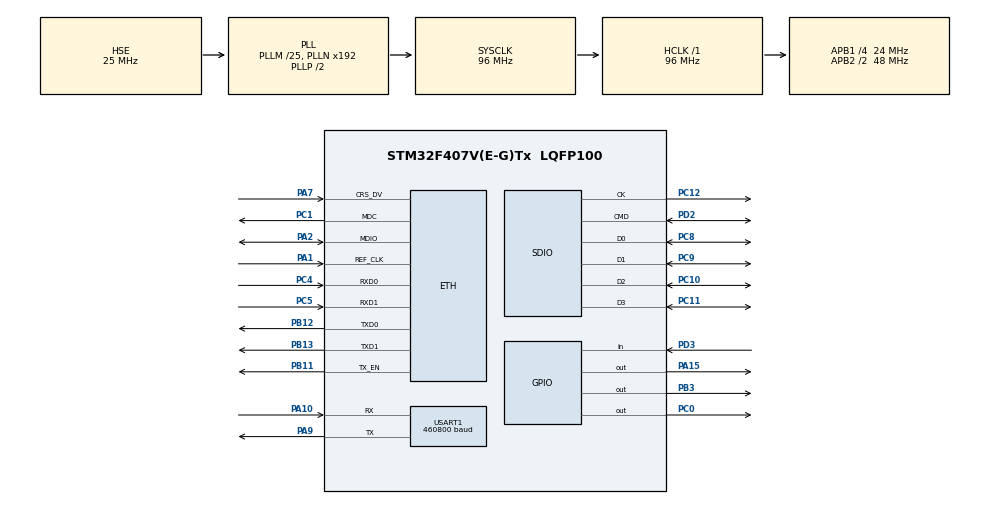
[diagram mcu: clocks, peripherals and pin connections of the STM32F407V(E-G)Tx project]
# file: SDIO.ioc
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Dma.Request0=SDIO_RX
Dma.Request1=SDIO_TX
Dma.Request2=USART1_TX
Dma.SDIO_RX.0.Direction=DMA_PERIPH_TO_MEMORY
Dma.SDIO_RX.0.FIFOMode=DMA_FIFOMODE_ENABLE
Dma.SDIO_RX.0.FIFOThreshold=DMA_FIFO_THRESHOLD_FULL
Dma.SDIO_RX.0.Instance=DMA2_Stream3
Dma.SDIO_RX.0.MemBurst=DMA_MBURST_INC4
Dma.SDIO_RX.0.MemDataAlignment=DMA_MDATAALIGN_WORD
Dma.SDIO_RX.0.MemInc=DMA_MINC_ENABLE
Dma.SDIO_RX.0.Mode=DMA_PFCTRL
Dma.SDIO_RX.0.PeriphBurst=DMA_PBURST_INC4
Dma.SDIO_RX.0.PeriphDataAlignment=DMA_PDATAALIGN_WORD
Dma.SDIO_RX.0.PeriphInc=DMA_PINC_DISABLE
Dma.SDIO_RX.0.Priority=DMA_PRIORITY_HIGH
Dma.SDIO_TX.1.Direction=DMA_MEMORY_TO_PERIPH
Dma.SDIO_TX.1.FIFOMode=DMA_FIFOMODE_ENABLE
Dma.SDIO_TX.1.FIFOThreshold=DMA_FIFO_THRESHOLD_FULL
Dma.SDIO_TX.1.Instance=DMA2_Stream6
Dma.SDIO_TX.1.MemBurst=DMA_MBURST_INC4
Dma.SDIO_TX.1.MemDataAlignment=DMA_MDATAALIGN_WORD
Dma.SDIO_TX.1.MemInc=DMA_MINC_ENABLE
Dma.SDIO_TX.1.Mode=DMA_PFCTRL
Dma.SDIO_TX.1.PeriphBurst=DMA_PBURST_INC4
Dma.SDIO_TX.1.PeriphDataAlignment=DMA_PDATAALIGN_WORD
Dma.SDIO_TX.1.PeriphInc=DMA_PINC_DISABLE
Dma.SDIO_TX.1.Priority=DMA_PRIORITY_HIGH
Dma.USART1_TX.2.Direction=DMA_MEMORY_TO_PERIPH
Dma.USART1_TX.2.FIFOMode=DMA_FIFOMODE_DISABLE
Dma.USART1_TX.2.Instance=DMA2_Stream7
Dma.USART1_TX.2.MemDataAlignment=DMA_MDATAALIGN_BYTE
Dma.USART1_TX.2.MemInc=DMA_MINC_ENABLE
Dma.USART1_TX.2.Mode=DMA_NORMAL
Dma.USART1_TX.2.PeriphDataAlignment=DMA_PDATAALIGN_BYTE
Dma.USART1_TX.2.PeriphInc=DMA_PINC_DISABLE
Dma.USART1_TX.2.Priority=DMA_PRIORITY_HIGH
ETH.MediaInterface=HAL_ETH_RMII_MODE
LWIP.BSP.number=1
LWIP.GATEWAY_ADDRESS=192.168.088.001
LWIP.IP_ADDRESS=192.168.088.010
LWIP.LWIP_DBG_MIN_LEVEL=LWIP_DBG_MASK_LEVEL
LWIP.LWIP_DHCP=0
LWIP.LWIP_TCP=0
LWIP.LWIP_UDP=1
LWIP.MEMP_NUM_PBUF=16
LWIP.MEMP_NUM_RAW_PCB=4
LWIP.MEMP_NUM_TCP_PCB=4
LWIP.MEMP_NUM_UDP_PCB=4
LWIP.MEM_SIZE=8192
LWIP.NETMASK_ADDRESS=255.255.255.000
LWIP.PBUF_POOL_BUFSIZE=592
LWIP.PBUF_POOL_SIZE=16
LWIP.Version=v2.1.2_Cube
LWIP0.BSP.STBoard=false
LWIP0.BSP.api=BSP_COMPONENT_DRIVER
LWIP0.BSP.component=LAN8742
LWIP0.BSP.instance=LAN8742
LWIP0.BSP.name=Driver_PHY
LWIP0.BSP.semaphore=S_LAN8742
LWIP0.BSP.solution=LAN8742
Mcu.Family=STM32F4
Mcu.Name=STM32F407V(E-G)Tx
Mcu.Package=LQFP100
NVIC.DMA2_Stream3_IRQn=true\:6\:0\:true\:false\:true\:false\:true\:true
NVIC.DMA2_Stream6_IRQn=true\:6\:0\:true\:false\:true\:false\:true\:true
NVIC.DMA2_Stream7_IRQn=true\:0\:0\:false\:false\:true\:false\:true\:true
NVIC.ETH_IRQn=true\:7\:0\:true\:false\:true\:true\:true\:true
NVIC.PriorityGroup=NVIC_PRIORITYGROUP_4
NVIC.SDIO_IRQn=true\:5\:0\:true\:false\:true\:true\:true\:true
NVIC.TIM1_UP_TIM10_IRQn=true\:15\:0\:false\:false\:true\:false\:true\:true
NVIC.TimeBase=TIM1_UP_TIM10_IRQn
NVIC.TimeBaseIP=TIM1
PA1.Mode=RMII
PA1.Signal=ETH_REF_CLK
PA10.Mode=Asynchronous
PA10.Signal=USART1_RX
PA13.Mode=Serial_Wire
PA13.Signal=SYS_JTMS-SWDIO
PA14.Mode=Serial_Wire
PA14.Signal=SYS_JTCK-SWCLK
PA15.GPIO_ModeDefaultOutputPP=GPIO_MODE_OUTPUT_PP
PA15.GPIO_PuPd=GPIO_PULLUP
PA15.GPIO_Speed=GPIO_SPEED_FREQ_HIGH
PA15.PinState=GPIO_PIN_SET
PA15.Signal=GPIO_Output
PA2.Mode=RMII
PA2.Signal=ETH_MDIO
PA7.Mode=RMII
PA7.Signal=ETH_CRS_DV
PA9.Mode=Asynchronous
PA9.Signal=USART1_TX
PB11.Mode=RMII
PB11.Signal=ETH_TX_EN
PB12.Mode=RMII
PB12.Signal=ETH_TXD0
PB13.Mode=RMII
PB13.Signal=ETH_TXD1
PB3.GPIO_ModeDefaultOutputPP=GPIO_MODE_OUTPUT_PP
PB3.GPIO_PuPd=GPIO_PULLUP
PB3.GPIO_Speed=GPIO_SPEED_FREQ_HIGH
PB3.PinState=GPIO_PIN_SET
PB3.Signal=GPIO_Output
PC0.PinState=GPIO_PIN_SET
PC0.Signal=GPIO_Output
PC1.Mode=RMII
PC1.Signal=ETH_MDC
PC10.GPIO_PuPd=GPIO_PULLUP
PC10.GPIO_Speed_High_Default=GPIO_SPEED_FREQ_VERY_HIGH
PC10.Mode=SD_4_bits_Wide_bus
PC10.Signal=SDIO_D2
PC11.GPIO_PuPd=GPIO_PULLUP
PC11.GPIO_Speed_High_Default=GPIO_SPEED_FREQ_VERY_HIGH
PC11.Mode=SD_4_bits_Wide_bus
PC11.Signal=SDIO_D3
PC12.GPIO_PuPd=GPIO_PULLUP
PC12.GPIO_Speed_High_Default=GPIO_SPEED_FREQ_VERY_HIGH
PC12.Mode=SD_4_bits_Wide_bus
PC12.Signal=SDIO_CK
PC14-OSC32_IN.Mode=LSE-External-Oscillator
PC14-OSC32_IN.Signal=RCC_OSC32_IN
PC15-OSC32_OUT.Mode=LSE-External-Oscillator
PC15-OSC32_OUT.Signal=RCC_OSC32_OUT
PC4.Mode=RMII
PC4.Signal=ETH_RXD0
PC5.Mode=RMII
PC5.Signal=ETH_RXD1
PC8.GPIO_PuPd=GPIO_PULLUP
PC8.GPIO_Speed_High_Default=GPIO_SPEED_FREQ_VERY_HIGH
PC8.Mode=SD_4_bits_Wide_bus
PC8.Signal=SDIO_D0
PC9.GPIO_PuPd=GPIO_PULLUP
PC9.GPIO_Speed_High_Default=GPIO_SPEED_FREQ_VERY_HIGH
PC9.Mode=SD_4_bits_Wide_bus
PC9.Signal=SDIO_D1
PD2.GPIO_PuPd=GPIO_PULLUP
PD2.GPIO_Speed_High_Default=GPIO_SPEED_FREQ_VERY_HIGH
PD2.Mode=SD_4_bits_Wide_bus
PD2.Signal=SDIO_CMD
PD3.Signal=GPIO_Input
PH0-OSC_IN.Mode=HSE-External-Oscillator
PH0-OSC_IN.Signal=RCC_OSC_IN
PH1-OSC_OUT.Mode=HSE-External-Oscillator
PH1-OSC_OUT.Signal=RCC_OSC_OUT
ProjectManager.HeapSize=0x1000
ProjectManager.StackSize=0x1000
ProjectManager.TargetToolchain=EWARM V8.50
RCC.48MHZClocksFreq_Value=48000000
RCC.AHBFreq_Value=96000000
RCC.APB1CLKDivider=RCC_HCLK_DIV4
RCC.APB1Freq_Value=24000000
RCC.APB1TimFreq_Value=48000000
RCC.APB2CLKDivider=RCC_HCLK_DIV2
RCC.APB2Freq_Value=48000000
RCC.APB2TimFreq_Value=96000000
RCC.CortexFreq_Value=96000000
RCC.HCLKFreq_Value=96000000
RCC.HSE_VALUE=25000000
RCC.HSI_VALUE=16000000
RCC.LSE_Timout=500
RCC.PLLM=25
RCC.PLLSourceVirtual=RCC_PLLSOURCE_HSE
RCC.SYSCLKFreq_VALUE=96000000
RCC.SYSCLKSource=RCC_SYSCLKSOURCE_PLLCLK
RCC.VCOOutputFreq_Value=192000000
RCC.VDD_VALUE=3.3
SDIO.ClockDiv=0
SDIO.HardwareFlowControl=SDIO_HARDWARE_FLOW_CONTROL_DISABLE
USART1.BaudRate=460800
USART1.OverSampling=UART_OVERSAMPLING_16
USART1.VirtualMode=VM_ASYNC
VP_LWIP_VS_Enabled.Mode=Enabled
VP_SYS_VS_tim1.Mode=TIM1
board=custom

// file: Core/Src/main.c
/* USER CODE BEGIN Header */
/**
******************************************************************************
* @file           : main.c
* @brief          : Main program body
******************************************************************************
* @attention
*
* Copyright (c) 2024 STMicroelectronics.
* All rights reserved.
*
* This software is licensed under terms that can be found in the LICENSE file
* in the root directory of this software component.
* If no LICENSE file comes with this software, it is provided AS-IS.
*
******************************************************************************
*/
/* USER CODE END Header */
#include "main.h"
#include "dma.h"
#include "lwip.h"
#include "sdio.h"
#include "usart.h"
#include "gpio.h"

/* USER CODE BEGIN Includes */
#include "lwip/tcp.h"
#include "main.h"
#include "sdio.h"
#include "usart.h"
#include "gpio.h"
//#include "dma.h"

#include <stdio.h>
#include <string.h>
#include "lwip/init.h"
#include "lwip/netif.h"
#include "netif/ethernet.h"
#include "ethernetif.h"
#include "lwip/timeouts.h"
#include <stddef.h>  // 包含 offsetof 宏

#include "lwip/udp.h"
#include "globals.h"
/* USER CODE END Includes */

/* USER CODE BEGIN PD */
//#define DATA_SIZE 524288000 //500*1024*1024
#define SD_CAPACITY 100 // 单位 MBytes
#define BLOCK_SIZE         512 // 一个块的字节数
#define DATA_SIZE_TO_WRITE 100*1024*1024 // 1MB = 1*1024*1024字节
#define DMA_NUM_BLOCKS_TO_WRITE 64 // 每一次DMA写入块的数量
#define DMA_NUM_BLOCKS_TO_READ  16 // 每一次DMA读出块的数量
#define NUM_TIMES_TO_WRITE DATA_SIZE_TO_WRITE/ (BLOCK_SIZE *DMA_NUM_BLOCKS_TO_WRITE) // 总共要写入的次数
#define NUM_TIMES_TO_READ  DATA_SIZE_TO_WRITE/ (BLOCK_SIZE *DMA_NUM_BLOCKS_TO_READ) // 总共要写入的次数
#define SD_CARD_CAPACITY_IN_BLOCKS SD_CAPACITY*1024*1024/BLOCK_SIZE
#define BUFFER_SIZE_W         DMA_NUM_BLOCKS_TO_WRITE*BLOCK_SIZE         // 缓冲区大小
//#define BUFFER_SIZE_W         2000// 缓冲区大小
#define BUFFER_SIZE_R         DMA_NUM_BLOCKS_TO_READ*BLOCK_SIZE         // 缓冲区大小
#define UDP_SEND_SIZE BLOCK_SIZE
#define CHECKSUM_LEN 2

#define BUFFER_DEPTH 2
#define TEMP_BUFF_SIZE 2048

#define LAN8720_PHY_ADDRESS  0x00  // 根据你的硬件设计设置正确的PHY地址

#define TARGET_IP "192.168.88.2"  // 上位机的IP地址
#define TARGET_PORT 5007          // 上位机接收的端口号

#define TIMEOUT_THRESHOLD 1000  // 超时阈值 (ms) 根据需要调整
/* USER CODE END PD */

/* USER CODE BEGIN PV */

#pragma pack(1)
// buff_state
// 0: ready for writing data to buff
// 1: writing data to buff in processing
// 2: ready for reading data from buff
// 3: reading data from buff in processing
typedef enum
{
    WAIT4INPUT=0,
    INPUTING=1,
    WAIT4OUTPUT=2,
    OUTPUTING=3
}BUFF_STATE;

typedef struct
{
    uint8_t input_ptr;//当前正在写入的buff
    uint8_t output_ptr;//当前正在输出的buff
    uint32_t index[BUFFER_DEPTH];//写入指针，指示当前buff字节位置
    BUFF_STATE buff_state[BUFFER_DEPTH];
    uint8_t buff[BUFFER_DEPTH][BUFFER_SIZE_W];
} UDP2SD_Buff_t;

typedef struct
{
    uint8_t input_ptr;//当前正在写入的buff
    uint8_t output_ptr;//当前正在输出的buff
    uint32_t index[BUFFER_DEPTH];//写入指针，指示当前buff字节位置
    BUFF_STATE buff_state[BUFFER_DEPTH];
    uint8_t buff[BUFFER_DEPTH][BUFFER_SIZE_R];
} SD2UDP_Buff_t;

UDP2SD_Buff_t udp2sd_buff = {
    .input_ptr = 0,
    .output_ptr = 0,
    .index = {0},
    .buff_state = {WAIT4INPUT, WAIT4INPUT}, // 初始化所有缓冲区状态
    .buff = {0}
};

SD2UDP_Buff_t sd2udp_buff = {
    .input_ptr = 0,
    .output_ptr = 0,
    .index = {0},
    .buff_state = {WAIT4INPUT, WAIT4INPUT}, // 初始化所有缓冲区状态
    .buff = {0}
};

uint32_t last_tcp_receive_time = 0; // 记录上一次接收到TCP数据的时间戳（毫秒）

uint32_t temp_buff_len = 0;
//uint8_t temp_buff[TEMP_BUFF_SIZE];
struct tcp_pcb *global_pcb = NULL;        // 用于暂停和恢复 TCP 接收

int sdio_write_done = 1;
int read_enable = 1;
int sdio_read_done = 1;
uint32_t *write_address = NULL;
uint32_t read_address = NULL;
uint8_t is_udp_rcv=0;

// 全局变量用于存储 UDP 连接
struct udp_pcb *udp_pcb;
struct udp_pcb *udp_send_pcb;

uint32_t requested_block = 0;
volatile uint8_t request_received = 0;

typedef enum
{
    IDLE=0,
    SENDING_STREAM=1,
    SENDING_BLOCK=2
}UDP_SEND_STATE;
uint8_t udp_send_state = IDLE;

typedef enum
{
    REQUEST_STREAM=1,
    REQUEST_BLOCK=2,
    RESPONE_STREAM=3,
    RESPONE_BLOCK=4,
}REQUEST_CMD;
typedef struct
{
    REQUEST_CMD cmd;
    uint32_t start_addr;
    uint32_t end_addr;
} udp_head_t;
udp_head_t udp_reqeust={0};
udp_head_t udp_respone={0};
uint32_t socket_index=0;
uint8_t is_request_data = 0;
uint8_t is_request_block = 0;
uint8_t udp_block_send_done = 1;
#pragma pack()
/* USER CODE END PV */

void SystemClock_Config(void);
/* USER CODE BEGIN PFP */

//static err_t tcp_server_send_data(struct tcp_pcb *tpcb);

/* USER CODE END PFP */

/* USER CODE BEGIN 0 */

int fputc(int ch, FILE *f) {
    HAL_UART_Transmit(&huart1, (uint8_t *)&ch, 1, HAL_MAX_DELAY);
    return ch;
}

/**************************以下是CRC相关*********************************/
// 表4中CRC-16校验码采用生成多项式：(x^16 + x^12 + x^5 + 1)。
uint16_t crc16_table[] = {
    0x0000, 0x1021, 0x2042, 0x3063, 0x4084, 0x50a5, 0x60c6, 0x70e7,
    0x8108, 0x9129, 0xa14a, 0xb16b, 0xc18c, 0xd1ad, 0xe1ce, 0xf1ef,
    0x1231, 0x0210, 0x3273, 0x2252, 0x52b5, 0x4294, 0x72f7, 0x62d6,
    0x9339, 0x8318, 0xb37b, 0xa35a, 0xd3bd, 0xc39c, 0xf3ff, 0xe3de,
    0x2462, 0x3443, 0x0420, 0x1401, 0x64e6, 0x74c7, 0x44a4, 0x5485,
    0xa56a, 0xb54b, 0x8528, 0x9509, 0xe5ee, 0xf5cf, 0xc5ac, 0xd58d,
    0x3653, 0x2672, 0x1611, 0x0630, 0x76d7, 0x66f6, 0x5695, 0x46b4,
    0xb75b, 0xa77a, 0x9719, 0x8738, 0xf7df, 0xe7fe, 0xd79d, 0xc7bc,
    0x48c4, 0x58e5, 0x6886, 0x78a7, 0x0840, 0x1861, 0x2802, 0x3823,
    0xc9cc, 0xd9ed, 0xe98e, 0xf9af, 0x8948, 0x9969, 0xa90a, 0xb92b,
    0x5af5, 0x4ad4, 0x7ab7, 0x6a96, 0x1a71, 0x0a50, 0x3a33, 0x2a12,
    0xdbfd, 0xcbdc, 0xfbbf, 0xeb9e, 0x9b79, 0x8b58, 0xbb3b, 0xab1a,
    0x6ca6, 0x7c87, 0x4ce4, 0x5cc5, 0x2c22, 0x3c03, 0x0c60, 0x1c41,
    0xedae, 0xfd8f, 0xcdec, 0xddcd, 0xad2a, 0xbd0b, 0x8d68, 0x9d49,
    0x7e97, 0x6eb6, 0x5ed5, 0x4ef4, 0x3e13, 0x2e32, 0x1e51, 0x0e70,
    0xff9f, 0xefbe, 0xdfdd, 0xcffc, 0xbf1b, 0xaf3a, 0x9f59, 0x8f78,
    0x9188, 0x81a9, 0xb1ca, 0xa1eb, 0xd10c, 0xc12d, 0xf14e, 0xe16f,
    0x1080, 0x00a1, 0x30c2, 0x20e3, 0x5004, 0x4025, 0x7046, 0x6067,
    0x83b9, 0x9398, 0xa3fb, 0xb3da, 0xc33d, 0xd31c, 0xe37f, 0xf35e,
    0x02b1, 0x1290, 0x22f3, 0x32d2, 0x4235, 0x5214, 0x6277, 0x7256,
    0xb5ea, 0xa5cb, 0x95a8, 0x8589, 0xf56e, 0xe54f, 0xd52c, 0xc50d,
    0x34e2, 0x24c3, 0x14a0, 0x0481, 0x7466, 0x6447, 0x5424, 0x4405,
    0xa7db, 0xb7fa, 0x8799, 0x97b8, 0xe75f, 0xf77e, 0xc71d, 0xd73c,
    0x26d3, 0x36f2, 0x0691, 0x16b0, 0x6657, 0x7676, 0x4615, 0x5634,
    0xd94c, 0xc96d, 0xf90e, 0xe92f, 0x99c8, 0x89e9, 0xb98a, 0xa9ab,
    0x5844, 0x4865, 0x7806, 0x6827, 0x18c0, 0x08e1, 0x3882, 0x28a3,
    0xcb7d, 0xdb5c, 0xeb3f, 0xfb1e, 0x8bf9, 0x9bd8, 0xabbb, 0xbb9a,
    0x4a75, 0x5a54, 0x6a37, 0x7a16, 0x0af1, 0x1ad0, 0x2ab3, 0x3a92,
    0xfd2e, 0xed0f, 0xdd6c, 0xcd4d, 0xbdaa, 0xad8b, 0x9de8, 0x8dc9,
    0x7c26, 0x6c07, 0x5c64, 0x4c45, 0x3ca2, 0x2c83, 0x1ce0, 0x0cc1,
    0xef1f, 0xff3e, 0xcf5d, 0xdf7c, 0xaf9b, 0xbfba, 0x8fd9, 0x9ff8,
    0x6e17, 0x7e36, 0x4e55, 0x5e74, 0x2e93, 0x3eb2, 0x0ed1, 0x1ef0
};

static inline uint16_t crc16_byte(uint16_t crc, const char data)
{
	return (crc << 8) ^ crc16_table[((crc >> 8) ^ data) & 0xff];
}

uint16_t CalCRC16(void *pData, int dwNumOfBytes)
{
    uint16_t	wCRC = 0;	// CRC校验码
    char *pbDataBuf = (char *)pData;
    while ( 0 != (dwNumOfBytes--) )
        wCRC = crc16_byte(wCRC, *pbDataBuf++);
    return	wCRC;
}
/**************************以上是CRC相关*********************************/

/**************************以下是SD卡相关*********************************/
void sdio_init()
{
    write_address = &g_Config.sdioAddrW;
    read_address = g_Config.sdioAddrR;
}

void HAL_SD_TxCpltCallback(SD_HandleTypeDef *hsd)
{
    if (!sdio_write_done && udp2sd_buff.buff_state[udp2sd_buff.output_ptr] == OUTPUTING)
    {
        sdio_write_done = 1;
        // 标记缓冲区为可写
        udp2sd_buff.buff_state[udp2sd_buff.output_ptr] = WAIT4INPUT;
        udp2sd_buff.index[udp2sd_buff.output_ptr] = 0;

        // 切换到下一个缓冲区
        udp2sd_buff.output_ptr = (udp2sd_buff.output_ptr + 1) % BUFFER_DEPTH;
    }
}

void HAL_SD_ErrorCallback(SD_HandleTypeDef *hsd)
{
//    printf("SDIO 传输错误！\n");
}

void HAL_SD_RxCpltCallback(SD_HandleTypeDef *hsd)
{
    if (!sdio_read_done && sd2udp_buff.buff_state[sd2udp_buff.input_ptr] == INPUTING)
    {
        sdio_read_done = 1;
        // 读指针加
        //        read_address += sd2udp_buff.index[sd2udp_buff.input_ptr];
        // buff可读
        sd2udp_buff.buff_state[sd2udp_buff.input_ptr] = WAIT4OUTPUT;
        // 切换到下一个buff
        sd2udp_buff.input_ptr = (sd2udp_buff.input_ptr + 1) % BUFFER_DEPTH;
    }
}

/**************************以上是SD卡相关*********************************/

/**************************以下是缓存相关***********************************/
void sdio_write_task(void) {
    // 检查当前缓冲区是否可读并发送数据
    if (udp2sd_buff.buff_state[udp2sd_buff.output_ptr] == WAIT4OUTPUT) {
        static uint32_t i = 0;
        // 写入SD卡
        if (HAL_GPIO_ReadPin(GPIOC, GPIO_PIN_8) == 1 && HAL_GPIO_ReadPin(GPIOD, GPIO_PIN_12) == 1) // 补丁，只有当SDIO总线空闲的时候才能够发起写入，否则出错
        {
            int status = HAL_SD_WriteBlocks_DMA(&hsd, udp2sd_buff.buff[udp2sd_buff.output_ptr], *write_address, DMA_NUM_BLOCKS_TO_WRITE);
            if (status != HAL_OK || i++ % 1000 == 0)
            {
                printf("写入状态：%d，第%d个block，当前index：%d\n", status, *write_address, udp2sd_buff.index[udp2sd_buff.output_ptr] );
            }
            *write_address += DMA_NUM_BLOCKS_TO_WRITE;
            udp2sd_buff.buff_state[udp2sd_buff.output_ptr] = OUTPUTING;
            sdio_write_done = 0;
        }
    }
}

void sdio_read_task(void)
{
    if (udp_send_state == SENDING_STREAM)
    {
        if (sd2udp_buff.buff_state[sd2udp_buff.input_ptr] == WAIT4INPUT && sdio_read_done == 1)
        {
            if (read_address < *write_address)
            {
                // 如果剩余数据足够一个buff，直接读一个buff，如果剩余数据不够一个buff，有多少读多少
                uint32_t read_num = *write_address - read_address;
                read_num =  read_num> DMA_NUM_BLOCKS_TO_READ? DMA_NUM_BLOCKS_TO_READ : read_num;
                // 读一个缓冲的数据
                if (HAL_GPIO_ReadPin(GPIOC, GPIO_PIN_8) == 1 && HAL_GPIO_ReadPin(GPIOD, GPIO_PIN_12) == 1)
                {
                    int status = HAL_SD_ReadBlocks_DMA(&hsd, sd2udp_buff.buff[sd2udp_buff.input_ptr], read_address, DMA_NUM_BLOCKS_TO_READ);
                    read_address += read_num;
                    // buff ind加
                    sd2udp_buff.index[sd2udp_buff.input_ptr] = read_num * BLOCK_SIZE;
                    // buff 状态变
                    sd2udp_buff.buff_state[sd2udp_buff.input_ptr] = INPUTING;
                    sdio_read_done = 0;
                    //                printf("读取状态：%d，第%d个block\n", status, read_address);
                }
            }
        }
    }
    else if (udp_send_state == SENDING_BLOCK)
    {
        if (sd2udp_buff.buff_state[sd2udp_buff.input_ptr] == WAIT4INPUT && sdio_read_done == 1)
        {
            if (is_request_block == 1)
            {
                // 读一个缓冲的数据
                if (HAL_GPIO_ReadPin(GPIOC, GPIO_PIN_8) == 1 && HAL_GPIO_ReadPin(GPIOD, GPIO_PIN_12) == 1)
                {
                    int status = HAL_SD_ReadBlocks_DMA(&hsd, sd2udp_buff.buff[sd2udp_buff.input_ptr], read_address, UDP_SEND_SIZE/BLOCK_SIZE);
                    sd2udp_buff.index[sd2udp_buff.input_ptr] = UDP_SEND_SIZE;
                    sd2udp_buff.buff_state[sd2udp_buff.input_ptr] = INPUTING;
                    sdio_read_done = 0;
                    is_request_block = 0;
                }
            }
        }
    }
}

void check_timeout_and_flush(void) {
    uint32_t current_time = HAL_GetTick();

    // 检查是否超时
    if ((current_time - last_tcp_receive_time) > TIMEOUT_THRESHOLD && is_udp_rcv) {
        is_udp_rcv = 0;
        // 如果当前缓冲区有数据尚未发送，则强制发送
        if (udp2sd_buff.index[udp2sd_buff.input_ptr] > 0) {
            udp2sd_buff.buff_state[udp2sd_buff.input_ptr] = WAIT4OUTPUT;
            udp2sd_buff.input_ptr = (udp2sd_buff.input_ptr + 1) % BUFFER_DEPTH;
            sdio_write_task();  // 触发UART发送
        }
        write_config_to_flash(&g_Config);
        printf("写入状态：%d，第%d个block，当前index：%d\n", 666, *write_address, udp2sd_buff.index[udp2sd_buff.output_ptr] );

    }
}

/**************************以上是缓存相关***********************************/
/**************************以下是以太网相关***********************************/
//ip_addr_t client_addr;  // 保存客户端的IP地址
//u16_t client_port;      // 保存客户端的端口号
void udp_receive_callback(void *arg, struct udp_pcb *pcb, struct pbuf *p, const ip_addr_t *addr, u16_t port) {
    if (p != NULL) {
        if (g_Config.workMode == WRITE) {
            // Existing code for WRITE mode

            uint16_t remaining_data = p->len;  // 剩余数据的长度
            uint8_t *data_ptr = (uint8_t *)p->payload;  // 指向接收到的UDP数据

            // 更新最近接收时间
            last_tcp_receive_time = HAL_GetTick();
            is_udp_rcv = 1;
            // 处理当前缓冲区
            while (remaining_data > 0) {
                // 检查当前缓冲区是否可写
                if (udp2sd_buff.buff_state[udp2sd_buff.input_ptr] == WAIT4INPUT) {
                    uint32_t available_space = BUFFER_SIZE_W - udp2sd_buff.index[udp2sd_buff.input_ptr];  // 当前缓冲区剩余空间

                    if (available_space >= remaining_data) {
                        // 缓冲区有足够的空间写入整个数据包
                        memcpy(udp2sd_buff.buff[udp2sd_buff.input_ptr] + udp2sd_buff.index[udp2sd_buff.input_ptr], data_ptr, remaining_data);
                        udp2sd_buff.index[udp2sd_buff.input_ptr] += remaining_data;  // 更新缓冲区写入位置
                        remaining_data = 0;  // 数据已经全部写入
                    } else {
                        // 缓冲区没有足够空间，需要拆分数据包
                        memcpy(udp2sd_buff.buff[udp2sd_buff.input_ptr] + udp2sd_buff.index[udp2sd_buff.input_ptr], data_ptr, available_space);
                        udp2sd_buff.index[udp2sd_buff.input_ptr] += available_space;
                        remaining_data -= available_space;  // 减少已处理的数据量
                        data_ptr += available_space;  // 移动数据指针

                        // 标记当前缓冲区为可读
                        udp2sd_buff.buff_state[udp2sd_buff.input_ptr] = WAIT4OUTPUT;

                        // 切换到下一个缓冲区
                        udp2sd_buff.input_ptr = (udp2sd_buff.input_ptr + 1) % BUFFER_DEPTH;

                        // 检查新的缓冲区是否可写
                        if (udp2sd_buff.buff_state[udp2sd_buff.input_ptr] != WAIT4INPUT) {
                            // 如果下一个缓冲区也不能写，可能需要处理错误或等待处理
                            // 这里可以加上丢弃数据或阻塞等待处理逻辑
                            break;
                        }

                        // 重置新缓冲区的写入索引
                        udp2sd_buff.index[udp2sd_buff.input_ptr] = 0;
                    }
                }
            }
        }
        if (g_Config.workMode == READ) {
            // 处理读取命令
            if (p->len >= sizeof(uint32_t)) {

                memcpy(&udp_reqeust, p->payload, sizeof(udp_reqeust));

                udp_reqeust.start_addr = lwip_ntohl(udp_reqeust.start_addr);
                udp_reqeust.end_addr = lwip_ntohl(udp_reqeust.end_addr);
                // 设置请求已接收的标志
                if (udp_reqeust.cmd == REQUEST_STREAM)
                {
                    read_address = udp_reqeust.start_addr;
                    *write_address = udp_reqeust.end_addr;
                    udp_send_state = SENDING_STREAM;
                    socket_index = 0;
                }
                else if (udp_reqeust.cmd == REQUEST_BLOCK)
                {
                    if (udp_block_send_done) // 必须等到将请求的数据包发送出去，再开始接收下一次请求
                    {
                        udp_block_send_done = 0;
                        udp_send_state = SENDING_BLOCK;
                        read_address = udp_reqeust.start_addr;
                        is_request_block = 1;
                    }
                }
//                request_received = 1;
//                // 保存客户端的地址和端口，以便发送数据
//                client_addr = *addr;
//                client_port = port;
            }
        }
        pbuf_free(p);
    }
}

void udp_send_task()
{
//    static uint32_t udp_index = 0;
    struct pbuf *udp_buf;
    uint32_t send_len=0;
    err_t status;
    static uint32_t send_index=0;
    static uint8_t first_pack = 1;
    if (udp_send_state == SENDING_STREAM)
    {
        udp_respone.cmd = RESPONE_STREAM;
        if (sd2udp_buff.buff_state[sd2udp_buff.output_ptr] == WAIT4OUTPUT)
        {
            while (send_index < sd2udp_buff.index[sd2udp_buff.output_ptr])
            {
                udp_respone.start_addr = lwip_ntohl(socket_index);
                send_len = sd2udp_buff.index[sd2udp_buff.output_ptr] - send_index;
                send_len = send_len > UDP_SEND_SIZE ? UDP_SEND_SIZE: send_len;
                // 将buff中的数据通过UDP发送回特定 IP 和端口
                udp_buf = pbuf_alloc(PBUF_TRANSPORT, send_len+sizeof(udp_respone), PBUF_RAM);
                if (udp_buf != NULL) {
                    memcpy(udp_buf->payload, (void*)&udp_respone, sizeof(udp_respone));
                    memcpy((uint8_t *)udp_buf->payload+sizeof(udp_respone), sd2udp_buff.buff[sd2udp_buff.output_ptr]+send_index, send_len);
                    status = udp_send(udp_send_pcb, udp_buf);  // 发送数据
                    //                HAL_Delay(1);
                    socket_index++;
                    pbuf_free(udp_buf);  // 释放 pbuf
                }
//                if (udp_buf == NULL || status != ERR_OK)
//                {
//                    printf("udp error:%d\n", status);
//                }
//                            HAL_UART_Transmit(&huart1, (uint8_t *)&sd2udp_buff.buff[sd2udp_buff.output_ptr]+send_index, send_len, HAL_MAX_DELAY);
                //                        printf("UDP发送状态：%d，发送第%d个block\n", status, send_len);
                //                HAL_Delay(2);
                send_index += send_len;
                if (first_pack && send_index >= UDP_SEND_SIZE)
                {
                    HAL_Delay(10);
                    first_pack = 0;
                    return;
                }
            }
            send_index = 0;
            sd2udp_buff.index[sd2udp_buff.output_ptr] = 0;
            sd2udp_buff.buff_state[sd2udp_buff.output_ptr] = WAIT4INPUT;
            sd2udp_buff.output_ptr = (sd2udp_buff.output_ptr + 1) % BUFFER_DEPTH;
        }

        if (read_address >= *write_address&& sd2udp_buff.buff_state[sd2udp_buff.output_ptr] == WAIT4INPUT)
        {
            udp_send_state = IDLE;
        }
    }
    else if (udp_send_state == SENDING_BLOCK)
    {
        udp_respone.cmd = RESPONE_BLOCK;
        if (sd2udp_buff.buff_state[sd2udp_buff.output_ptr] == WAIT4OUTPUT)
        {
            udp_respone.start_addr = lwip_ntohl(read_address);
            udp_respone.end_addr = lwip_ntohl(read_address+UDP_SEND_SIZE/BLOCK_SIZE-1);
            udp_buf = pbuf_alloc(PBUF_TRANSPORT, UDP_SEND_SIZE+sizeof(udp_respone)+CHECKSUM_LEN, PBUF_RAM);
            if (udp_buf != NULL) {
                memcpy(udp_buf->payload, (void*)&udp_respone, sizeof(udp_respone));
                memcpy((uint8_t *)udp_buf->payload+sizeof(udp_respone), sd2udp_buff.buff[sd2udp_buff.output_ptr], UDP_SEND_SIZE);
                uint16_t crc = CalCRC16(udp_buf->payload, UDP_SEND_SIZE+sizeof(udp_respone));
                memcpy((uint8_t *)udp_buf->payload+sizeof(udp_respone)+UDP_SEND_SIZE, (void *)&crc, CHECKSUM_LEN);
                status = udp_send(udp_send_pcb, udp_buf);  // 发送数据
                pbuf_free(udp_buf);  // 释放 pbuf
                HAL_UART_Transmit(&huart1, sd2udp_buff.buff[sd2udp_buff.output_ptr], UDP_SEND_SIZE+CHECKSUM_LEN, HAL_MAX_DELAY);
                udp_block_send_done = 1;
	            sd2udp_buff.index[sd2udp_buff.output_ptr] = 0;
	            sd2udp_buff.buff_state[sd2udp_buff.output_ptr] = WAIT4INPUT;
	            sd2udp_buff.output_ptr = (sd2udp_buff.output_ptr + 1) % BUFFER_DEPTH;
	            if (sd2udp_buff.buff_state[sd2udp_buff.output_ptr] == WAIT4INPUT)
	            {
	                udp_send_state = IDLE;
	            }
            }
        }
    }
}

void udp_receive_init(void) {
    // 你的 UDP 初始化代码
    udp_pcb = udp_new();
    if (udp_pcb != NULL) {
        udp_bind(udp_pcb, IP_ADDR_ANY, 5005);
        udp_recv(udp_pcb, udp_receive_callback, NULL);
    }
}

// 初始化发送目标
void udp_send_init(void) {
    ip_addr_t dest_ip_addr;
    ipaddr_aton(TARGET_IP, &dest_ip_addr);  // 转换目标IP为正确的格式

    udp_send_pcb = udp_new();
    if (udp_send_pcb != NULL) {
        udp_connect(udp_send_pcb, &dest_ip_addr, TARGET_PORT);  // 连接到目标IP和端口
    }
}

/**************************以上是以太网相关*********************************/

/* USER CODE END 0 */

int main(void)
{

  /* MCU Configuration--------------------------------------------------------*/

  /* Reset of all peripherals, Initializes the Flash interface and the Systick. */
  HAL_Init();

  /* Configure the system clock */
  SystemClock_Config();

  /* USER CODE BEGIN SysInit */
    HAL_Delay(100);

  /* USER CODE END SysInit */

  /* Initialize all configured peripherals */
  MX_GPIO_Init();
  MX_DMA_Init();
  MX_SDIO_SD_Init();
  MX_USART1_UART_Init();
  MX_LWIP_Init();
  /* USER CODE BEGIN 2 */
    HAL_Delay(100);

    setvbuf(stdout, NULL, _IONBF, 0);
    printf("\n\nStart testing \n");

    uint32_t sys_clk = HAL_RCC_GetSysClockFreq();
    printf("System Clock Frequency: %d Hz\n", sys_clk);
    RCC_ClkInitTypeDef clkinitstruct = {0};
    RCC_OscInitTypeDef oscinitstruct = {0};
    uint32_t flashLatency;

    /* Get clock configuration */
    HAL_RCC_GetClockConfig(&clkinitstruct, &flashLatency);
    /* Get oscillator configuration */
    HAL_RCC_GetOscConfig(&oscinitstruct);
    /* Assuming PLL is used as clock source and PLLQ is configured */
    uint32_t pll_source_freq = (oscinitstruct.PLL.PLLSource == RCC_PLLSOURCE_HSE) ? HSE_VALUE : HSI_VALUE;
    uint32_t pll_vco_freq = (pll_source_freq / oscinitstruct.PLL.PLLM) * oscinitstruct.PLL.PLLN;
    uint32_t sdio_clk = pll_vco_freq / oscinitstruct.PLL.PLLQ;
    printf("SDIO Clock Frequency: %d Hz\n", sdio_clk / (hsd.Init.ClockDiv + 2));

    GlobalConfig_t *g_Config_temp = (GlobalConfig_t *)malloc(sizeof(GlobalConfig_t));
    read_config_from_flash(g_Config_temp);
    // 如果flash中没有配置
    if (g_Config_temp->verNum == 0 || g_Config_temp->verNum == 0xffffffff)
    {
        write_config_to_flash(&g_Config);
    }
    else
    {
        memcpy(&g_Config, g_Config_temp, sizeof(GlobalConfig_t));
    }
    free(g_Config_temp);

    // 确保 SD 卡已初始化成功
    if (HAL_SD_GetCardState(&hsd) != HAL_SD_CARD_TRANSFER) {
        printf("SD 卡未准备好，进入死循环。\n");
    }
    else
    {
        sdio_init();
        printf("SD 卡初始化成功！\n");
        if (g_Config.workMode == READ)
        {
            printf("当前是读取模式\n");
        }
        else if (g_Config.workMode == WRITE)
        {
            printf("当前是写入模式\n");
        }
        printf("当前写入指针：%d\n", *write_address);
        printf("当前读出指针：%d\n", read_address);
    }

    if (g_Config.workMode == WRITE)
    {
        udp_receive_init();
    }
    if (g_Config.workMode == READ)
    {
        udp_send_init();
        udp_receive_init();  // Add this line to initialize UDP receive in READ mode

        HAL_Delay(3000);
    }

  /* USER CODE END 2 */

  /* Infinite loop */
  /* USER CODE BEGIN WHILE */
    while (1)
    {
        if (g_Config.workMode == WRITE)
        {
            sdio_write_task();
            check_timeout_and_flush();
        }
        if (g_Config.workMode == READ)
        {
            sdio_read_task();
            udp_send_task();
        }
        MX_LWIP_Process();
//        HAL_Delay(1);
    /* USER CODE END WHILE */

    }
}

void SystemClock_Config(void)
{
  RCC_OscInitTypeDef RCC_OscInitStruct = {0};
  RCC_ClkInitTypeDef RCC_ClkInitStruct = {0};

  /** Configure the main internal regulator output voltage
  */
  __HAL_RCC_PWR_CLK_ENABLE();
  __HAL_PWR_VOLTAGESCALING_CONFIG(PWR_REGULATOR_VOLTAGE_SCALE1);

  /** Initializes the RCC Oscillators according to the specified parameters
  * in the RCC_OscInitTypeDef structure.
  */
  RCC_OscInitStruct.OscillatorType = RCC_OSCILLATORTYPE_HSE;
  RCC_OscInitStruct.HSEState = RCC_HSE_ON;
  RCC_OscInitStruct.PLL.PLLState = RCC_PLL_ON;
  RCC_OscInitStruct.PLL.PLLSource = RCC_PLLSOURCE_HSE;
  RCC_OscInitStruct.PLL.PLLM = 25;
  RCC_OscInitStruct.PLL.PLLN = 192;
  RCC_OscInitStruct.PLL.PLLP = RCC_PLLP_DIV2;
  RCC_OscInitStruct.PLL.PLLQ = 4;
  if (HAL_RCC_OscConfig(&RCC_OscInitStruct) != HAL_OK)
  {
    Error_Handler();
  }

  /** Initializes the CPU, AHB and APB buses clocks
  */
  RCC_ClkInitStruct.ClockType = RCC_CLOCKTYPE_HCLK|RCC_CLOCKTYPE_SYSCLK
                              |RCC_CLOCKTYPE_PCLK1|RCC_CLOCKTYPE_PCLK2;
  RCC_ClkInitStruct.SYSCLKSource = RCC_SYSCLKSOURCE_PLLCLK;
  RCC_ClkInitStruct.AHBCLKDivider = RCC_SYSCLK_DIV1;
  RCC_ClkInitStruct.APB1CLKDivider = RCC_HCLK_DIV4;
  RCC_ClkInitStruct.APB2CLKDivider = RCC_HCLK_DIV2;

  if (HAL_RCC_ClockConfig(&RCC_ClkInitStruct, FLASH_LATENCY_3) != HAL_OK)
  {
    Error_Handler();
  }
}

void HAL_TIM_PeriodElapsedCallback(TIM_HandleTypeDef *htim)
{
  if (htim->Instance == TIM1) {
    HAL_IncTick();
  }
}

void Error_Handler(void)
{
    __disable_irq();
    while (1)
    {
    }
}
